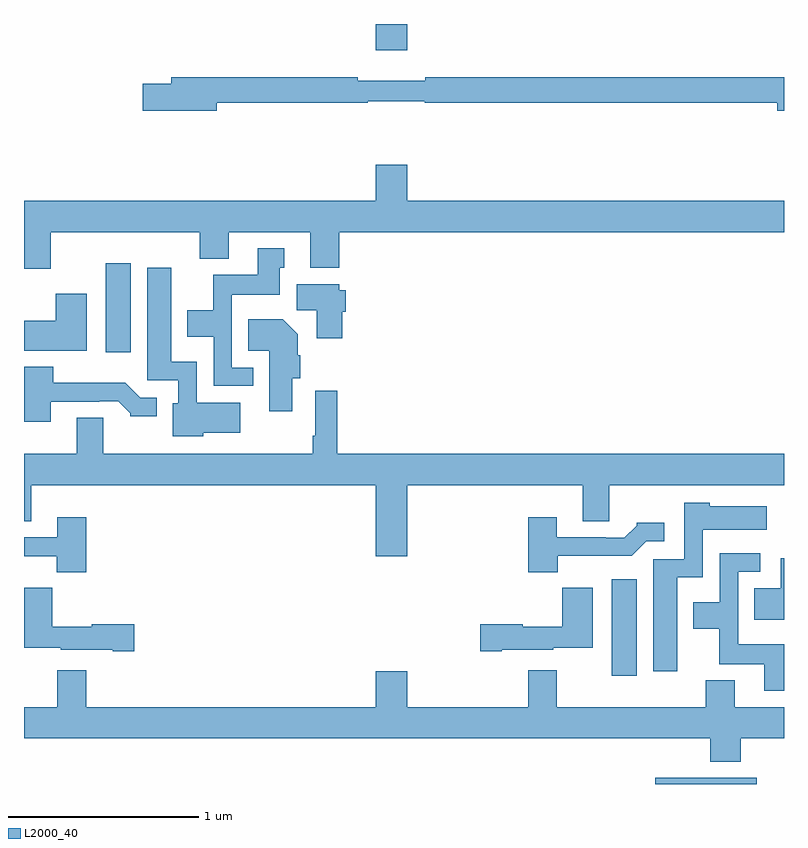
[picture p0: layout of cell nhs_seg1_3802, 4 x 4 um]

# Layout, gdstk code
import gdstk
lib = gdstk.Library(unit=1e-6, precision=1e-09)
def R(c, l, rs):  # rectangles x0, y0, x1, y1
    for r in rs: c.add(gdstk.rectangle(r[:2], r[2:], *l))
def P(c, l, *ps):  # polygons
    for p in ps: c.add(gdstk.Polygon(p, *l))
L2000_40 = (2000, 40)

nhs_seg1_3802 = lib.new_cell('nhs_seg1_3802')
R(nhs_seg1_3802, L2000_40, [(322.323,510.199,322.857,510.231), (322.094,510.768,322.225,511.276), (319.43,512.472,319.561,512.941), (320.852,514.062,321.016,514.199)])
P(nhs_seg1_3802, L2000_40, [(320.014,513.784),(320.81,513.784),(320.81,513.792),(321.11,513.792),(321.11,513.784),(322.964,513.784),(322.964,513.742),(323,513.742),(323,513.92),(321.112,513.92),(321.112,513.901),(320.756,513.901),(320.756,513.92),(319.775,513.92),(319.775,513.884),(319.626,513.884),(319.626,513.742),(320.014,513.742)],
  [(319.141,513.104),(319.925,513.104),(319.925,512.963),(320.077,512.963),(320.077,513.104),(320.507,513.104),(320.507,512.915),(320.66,512.915),(320.66,513.104),(323,513.104),(323,513.268),(321.016,513.268),(321.016,513.457),(320.852,513.457),(320.852,513.268),(319,513.268),(319,512.91),(319.141,512.91)],
  [(320.206,512.391),(320.094,512.391),(320.094,512.774),(320.347,512.774),(320.347,512.916),(320.371,512.916),(320.371,513.019),(320.231,513.019),(320.231,512.878),(319.996,512.878),(319.996,512.692),(319.859,512.692),(319.859,512.552),(319.998,512.552),(319.998,512.295),(320.206,512.295)],
  [(319.944,512.048),(320.137,512.048),(320.137,512.206),(319.908,512.206),(319.908,512.422),(319.774,512.422),(319.774,512.917),(319.649,512.917),(319.649,512.325),(319.812,512.325),(319.812,512.202),(319.784,512.202),(319.784,512.03),(319.944,512.03)],
  [(320.675,512.685),(320.693,512.685),(320.693,512.799),(320.658,512.799),(320.658,512.83),(320.435,512.83),(320.435,512.692),(320.54,512.692),(320.54,512.544),(320.675,512.544)],
  [(319.33,512.779),(319.166,512.779),(319.166,512.638),(319,512.638),(319,512.48),(319.33,512.48)],
  [(320.413,512.334),(320.453,512.334),(320.453,512.456),(320.44,512.456),(320.44,512.566),(320.362,512.644),(320.179,512.644),(320.179,512.48),(320.291,512.48),(320.291,512.16),(320.413,512.16)],
  [(319.141,512.211),(319.397,512.211),(319.397,512.214),(319.496,512.214),(319.56,512.15),(319.56,512.135),(319.699,512.135),(319.699,512.232),(319.611,512.232),(319.533,512.311),(319.154,512.311),(319.154,512.395),(319,512.395),(319,512.106),(319.141,512.106)],
  [(321.016,511.772),(321.941,511.772),(321.941,511.582),(322.081,511.582),(322.081,511.772),(323,511.772),(323,511.936),(320.648,511.936),(320.648,512.269),(320.532,512.269),(320.532,512.032),(320.52,512.032),(320.52,511.936),(319.417,511.936),(319.417,512.126),(319.277,512.126),(319.277,511.936),(319,511.936),(319,511.582),(319.039,511.582),(319.039,511.772),(320.852,511.772),(320.852,511.398),(321.016,511.398)],
  [(322.438,511.286),(322.572,511.286),(322.572,511.538),(322.909,511.538),(322.909,511.66),(322.608,511.66),(322.608,511.678),(322.476,511.678),(322.476,511.383),(322.313,511.383),(322.313,510.792),(322.438,510.792)],
  [(321.808,511.4),(322.199,511.4),(322.275,511.476),(322.369,511.476),(322.369,511.573),(322.224,511.573),(322.224,511.558),(322.16,511.494),(322.061,511.494),(322.061,511.497),(321.805,511.497),(321.805,511.603),(321.653,511.603),(321.653,511.313),(321.808,511.313)],
  [(319.328,511.603),(319.175,511.603),(319.175,511.497),(319,511.497),(319,511.398),(319.173,511.398),(319.173,511.313),(319.328,511.313)],
  [(323,510.934),(322.758,510.934),(322.758,511.317),(322.876,511.317),(322.876,511.413),(322.662,511.413),(322.662,511.156),(322.523,511.156),(322.523,511.016),(322.66,511.016),(322.66,510.83),(322.895,510.83),(322.895,510.69),(323,510.69)],
  [(323,511.387),(322.982,511.387),(322.982,511.228),(322.843,511.228),(322.843,511.064),(323,511.064)],
  [(319.579,511.04),(319.356,511.04),(319.356,511.027),(319.148,511.027),(319.148,511.231),(319,511.231),(319,510.917),(319.194,510.917),(319.194,510.905),(319.466,510.905),(319.466,510.898),(319.579,510.898)],
  [(321.514,510.905),(321.786,510.905),(321.786,510.917),(321.994,510.917),(321.994,511.231),(321.832,511.231),(321.832,511.027),(321.624,511.027),(321.624,511.04),(321.402,511.04),(321.402,510.898),(321.514,510.898)],
  [(322.773,510.44),(323,510.44),(323,510.604),(322.741,510.604),(322.741,510.745),(322.589,510.745),(322.589,510.604),(321.805,510.604),(321.805,510.799),(321.653,510.799),(321.653,510.604),(321.016,510.604),(321.016,510.793),(320.852,510.793),(320.852,510.604),(319.328,510.604),(319.328,510.799),(319.175,510.799),(319.175,510.604),(319,510.604),(319,510.44),(322.613,510.44),(322.613,510.316),(322.773,510.316)])

lib.write_gds('nhs_seg1_3802.gds')
